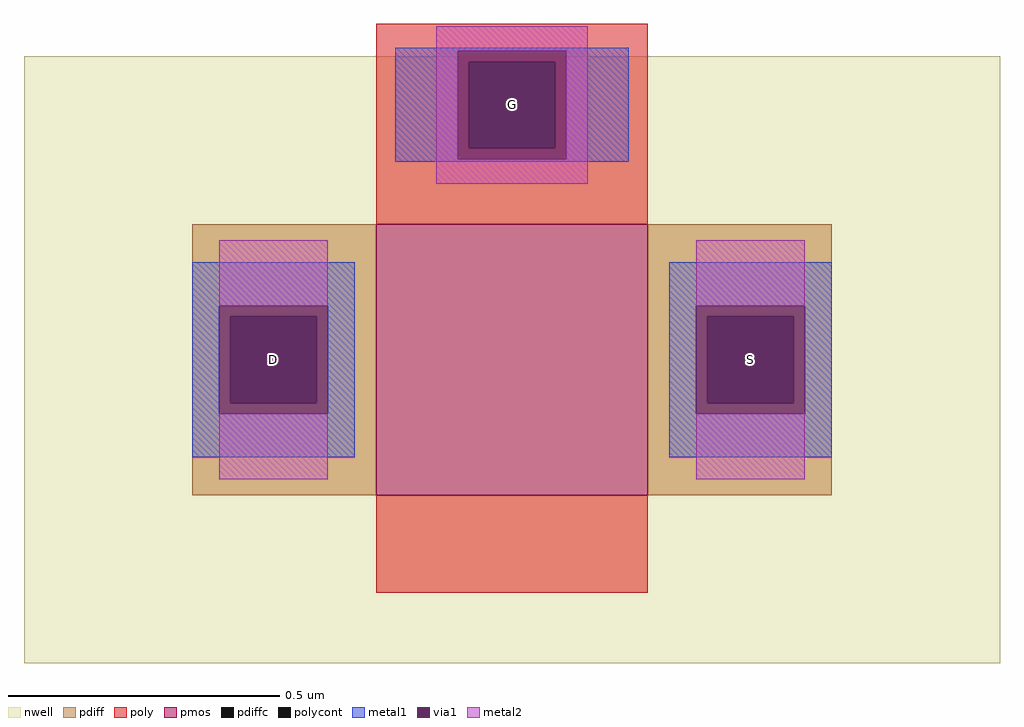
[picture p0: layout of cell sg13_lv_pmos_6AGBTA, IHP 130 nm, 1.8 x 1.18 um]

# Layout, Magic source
magic
tech ihp-sg13g2
magscale 1 2
<< nwell >>
rect -180 -131 180 93
<< pmos >>
rect -50 -69 50 31
<< pdiff >>
rect -118 -3 -50 31
rect -118 -35 -104 -3
rect -72 -35 -50 -3
rect -118 -69 -50 -35
rect 50 -3 118 31
rect 50 -35 72 -3
rect 104 -35 118 -3
rect 50 -69 118 -35
<< pdiffc >>
rect -104 -35 -72 -3
rect 72 -35 104 -3
<< poly >>
rect -50 91 50 105
rect -50 59 -16 91
rect 16 59 50 91
rect -50 31 50 59
rect -50 -105 50 -69
<< polycont >>
rect -16 59 16 91
<< metal1 >>
rect -43 95 43 96
rect -43 55 -20 95
rect 20 55 43 95
rect -43 54 43 55
rect -118 1 -58 17
rect -118 -39 -108 1
rect -68 -39 -58 1
rect -118 -55 -58 -39
rect 58 1 118 17
rect 58 -39 68 1
rect 108 -39 118 1
rect 58 -55 118 -39
<< via1 >>
rect -20 91 20 95
rect -20 59 -16 91
rect -16 59 16 91
rect 16 59 20 91
rect -20 55 20 59
rect -108 -3 -68 1
rect -108 -35 -104 -3
rect -104 -35 -72 -3
rect -72 -35 -68 -3
rect -108 -39 -68 -35
rect 68 -3 108 1
rect 68 -35 72 -3
rect 72 -35 104 -3
rect 104 -35 108 -3
rect 68 -39 108 -35
<< metal2 >>
rect -28 95 28 104
rect -28 55 -20 95
rect 20 55 28 95
rect -28 46 28 55
rect -108 1 -68 25
rect -108 -63 -68 -39
rect 68 1 108 25
rect 68 -63 108 -39
<< labels >>
rlabel metal1 s -88 -19 -88 -19 4 D
rlabel metal1 s 88 -19 88 -19 4 S
rlabel metal1 s 0 75 0 75 4 G
<< end >>
